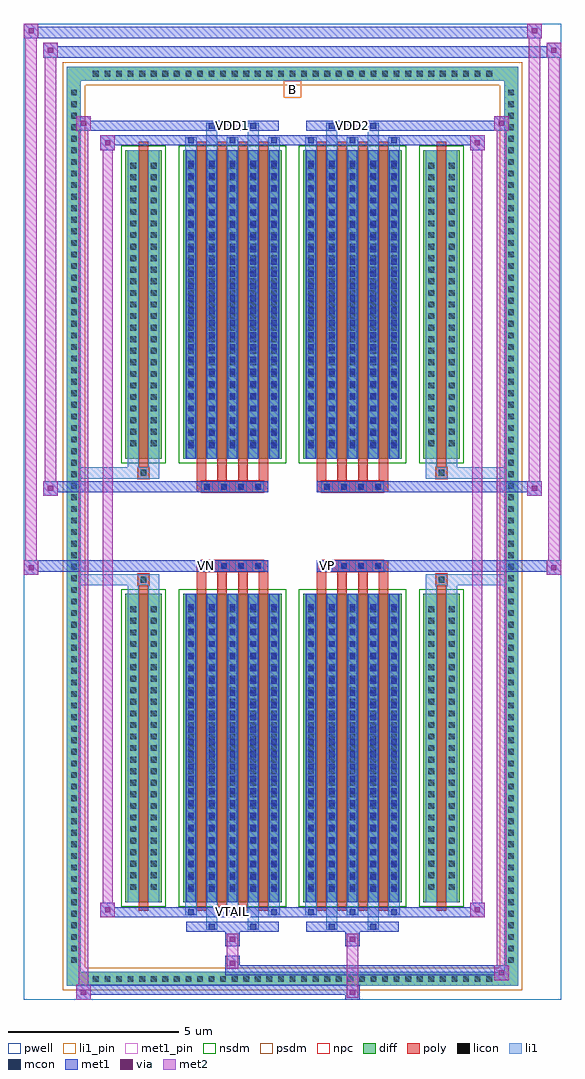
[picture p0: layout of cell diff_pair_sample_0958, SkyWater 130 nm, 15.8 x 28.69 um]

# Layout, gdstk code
import gdstk
lib = gdstk.Library(unit=1e-6, precision=5e-09)
def R(c, l, rs):  # rectangles x0, y0, x1, y1
    for r in rs: c.add(gdstk.rectangle(r[:2], r[2:], *l))
def A(c, l, x, y, w, h, nx, ny, dx, dy):  # array of equal rectangles
    R(c, l, [(x+i*dx, y+j*dy, x+i*dx+w, y+j*dy+h) for i in range(nx) for j in range(ny)])
def P(c, l, *ps):  # polygons
    for p in ps: c.add(gdstk.Polygon(p, *l))
pwell = (64, 44)
diff = (65, 20)
poly = (66, 20)
licon = (66, 44)
li1_pin = (67, 16)
li1 = (67, 20)
mcon = (67, 44)
met1_pin = (68, 16)
met1 = (68, 20)
via = (68, 44)
met2 = (69, 20)
nsdm = (93, 44)
psdm = (94, 20)
npc = (95, 20)

diff_pair_sample_0958 = lib.new_cell('diff_pair_sample_0958')
R(diff_pair_sample_0958, pwell, [(-7.9,-13.91,7.9,14.78), (-5.22,-12.1,-0.01,-0.8), (0.01,-12.1,5.22,-0.8), (-5.22,0.8,-0.01,12.1), (0.01,0.8,5.22,12.1)])
A(diff_pair_sample_0958, diff, -5.985, -13.51, 0.41, 0.41, 35, 2, 0.34, 26.61)
A(diff_pair_sample_0958, diff, -6.63, -12.955, 0.41, 0.41, 1, 76, 0, 0.34)
A(diff_pair_sample_0958, diff, 6.22, -12.955, 0.41, 0.41, 1, 76, 0, 0.34)
R(diff_pair_sample_0958, diff, [(-5.985,-13.51,5.985,-13.1), (-6.63,-12.955,-6.22,12.955), (6.22,-12.955,6.63,12.955), (-4.91,-11.055,-3.85,-1.985), (-3.21,-11.055,-0.32,-1.985), (0.32,-11.055,3.21,-1.985), (3.85,-11.055,4.91,-1.985), (-4.91,1.985,-3.85,11.055), (-3.21,1.985,-0.32,11.055), (0.32,1.985,3.21,11.055), (3.85,1.985,4.91,11.055), (-5.985,13.1,5.985,13.51)])
P(diff_pair_sample_0958, diff, [(6.63,13.51),(-6.63,13.51),(-6.63,-13.1),(-6.22,-13.1),(-6.22,13.1),(6.22,13.1),(6.22,-13.1),(-6.22,-13.1),(-6.63,-13.1),(-6.63,-13.51),(6.63,-13.51)])
A(diff_pair_sample_0958, poly, -2.82, -11.305, 0.28, 9.57, 4, 2, 0.61, 13.04)
A(diff_pair_sample_0958, poly, 0.71, -11.305, 0.28, 9.57, 4, 2, 0.61, 13.04)
A(diff_pair_sample_0958, poly, -2.82, -1.735, 0.28, 0.405, 4, 2, 0.61, 3.065)
A(diff_pair_sample_0958, poly, 0.71, -1.735, 0.28, 0.405, 4, 2, 0.61, 3.065)
A(diff_pair_sample_0958, poly, -2.68, -1.33, 0.33, 0.33, 4, 2, 0.5, 2.33)
A(diff_pair_sample_0958, poly, 0.85, -1.33, 0.33, 0.33, 4, 2, 0.5, 2.33)
R(diff_pair_sample_0958, poly, [(-4.52,-11.305,-4.24,-1.735), (4.24,-11.305,4.52,-1.735), (-4.545,-1.735,-4.215,-1.405), (-4.545,-1.735,-4.215,-1.405), (4.215,-1.735,4.545,-1.405), (4.215,-1.735,4.545,-1.405), (-2.82,-1.33,-0.71,-1), (0.71,-1.33,2.82,-1), (-2.82,1,-0.71,1.33), (0.71,1,2.82,1.33), (-4.545,1.405,-4.215,1.735), (-4.545,1.405,-4.215,1.735), (4.215,1.405,4.545,1.735), (4.215,1.405,4.545,1.735), (-4.52,1.735,-4.24,11.305), (4.24,1.735,4.52,11.305)])
A(diff_pair_sample_0958, licon, -5.865, -13.39, 0.17, 0.17, 35, 2, 0.34, 26.61)
A(diff_pair_sample_0958, licon, -6.51, -12.835, 0.17, 0.17, 1, 76, 0, 0.34)
A(diff_pair_sample_0958, licon, 6.34, -12.835, 0.17, 0.17, 1, 76, 0, 0.34)
A(diff_pair_sample_0958, licon, -4.77, -10.685, 0.17, 0.17, 1, 25, 0, 0.34)
A(diff_pair_sample_0958, licon, -4.16, -10.685, 0.17, 0.17, 1, 25, 0, 0.34)
A(diff_pair_sample_0958, licon, -3.07, -10.685, 0.17, 0.17, 5, 25, 0.61, 0.34)
A(diff_pair_sample_0958, licon, 0.46, -10.685, 0.17, 0.17, 5, 25, 0.61, 0.34)
A(diff_pair_sample_0958, licon, 3.99, -10.685, 0.17, 0.17, 1, 25, 0, 0.34)
A(diff_pair_sample_0958, licon, 4.6, -10.685, 0.17, 0.17, 1, 25, 0, 0.34)
A(diff_pair_sample_0958, licon, -2.6, -1.25, 0.17, 0.17, 4, 2, 0.5, 2.33)
A(diff_pair_sample_0958, licon, 0.93, -1.25, 0.17, 0.17, 4, 2, 0.5, 2.33)
A(diff_pair_sample_0958, licon, -4.77, 2.355, 0.17, 0.17, 1, 25, 0, 0.34)
A(diff_pair_sample_0958, licon, -4.16, 2.355, 0.17, 0.17, 1, 25, 0, 0.34)
A(diff_pair_sample_0958, licon, -3.07, 2.355, 0.17, 0.17, 5, 25, 0.61, 0.34)
A(diff_pair_sample_0958, licon, 0.46, 2.355, 0.17, 0.17, 5, 25, 0.61, 0.34)
A(diff_pair_sample_0958, licon, 3.99, 2.355, 0.17, 0.17, 1, 25, 0, 0.34)
A(diff_pair_sample_0958, licon, 4.6, 2.355, 0.17, 0.17, 1, 25, 0, 0.34)
R(diff_pair_sample_0958, licon, [(-4.465,-1.655,-4.295,-1.485), (4.295,-1.655,4.465,-1.485), (-4.465,1.485,-4.295,1.655), (4.295,1.485,4.465,1.655)])
R(diff_pair_sample_0958, li1_pin, [(-0.25,12.6,0.25,13.1)])
A(diff_pair_sample_0958, li1, -5.945, -13.47, 0.33, 0.33, 35, 2, 0.34, 26.61)
A(diff_pair_sample_0958, li1, -6.59, -12.915, 0.33, 0.33, 1, 76, 0, 0.34)
A(diff_pair_sample_0958, li1, 6.26, -12.915, 0.33, 0.33, 1, 76, 0, 0.34)
A(diff_pair_sample_0958, li1, -3.15, -11.43, 0.33, 0.375, 3, 2, 1.22, 22.485)
A(diff_pair_sample_0958, li1, -3.07, -11.43, 0.17, 0.17, 3, 2, 1.22, 22.69)
A(diff_pair_sample_0958, li1, 0.38, -11.43, 0.33, 0.375, 3, 2, 1.22, 22.485)
A(diff_pair_sample_0958, li1, 0.46, -11.43, 0.17, 0.17, 3, 2, 1.22, 22.69)
A(diff_pair_sample_0958, li1, -3.15, -11.055, 0.33, 9.07, 5, 2, 0.61, 13.04)
A(diff_pair_sample_0958, li1, 0.38, -11.055, 0.33, 9.07, 5, 2, 0.61, 13.04)
A(diff_pair_sample_0958, li1, -4.85, -10.765, 0.33, 0.33, 1, 25, 0, 0.34)
A(diff_pair_sample_0958, li1, -4.24, -10.765, 0.33, 0.33, 1, 25, 0, 0.34)
A(diff_pair_sample_0958, li1, -3.15, -10.765, 0.33, 0.33, 5, 25, 0.61, 0.34)
A(diff_pair_sample_0958, li1, 0.38, -10.765, 0.33, 0.33, 5, 25, 0.61, 0.34)
A(diff_pair_sample_0958, li1, 3.91, -10.765, 0.33, 0.33, 1, 25, 0, 0.34)
A(diff_pair_sample_0958, li1, 4.52, -10.765, 0.33, 0.33, 1, 25, 0, 0.34)
A(diff_pair_sample_0958, li1, -3.07, -10.745, 0.17, 0.17, 5, 24, 0.61, 0.36)
A(diff_pair_sample_0958, li1, -3.07, -10.745, 0.17, 8.45, 5, 2, 0.61, 13.04)
A(diff_pair_sample_0958, li1, 0.46, -10.745, 0.17, 0.17, 5, 24, 0.61, 0.36)
A(diff_pair_sample_0958, li1, 0.46, -10.745, 0.17, 8.45, 5, 2, 0.61, 13.04)
A(diff_pair_sample_0958, li1, -2.68, -1.33, 0.33, 0.33, 4, 2, 0.5, 2.33)
A(diff_pair_sample_0958, li1, 0.85, -1.33, 0.33, 0.33, 4, 2, 0.5, 2.33)
A(diff_pair_sample_0958, li1, -4.85, 2.275, 0.33, 0.33, 1, 25, 0, 0.34)
A(diff_pair_sample_0958, li1, -4.24, 2.275, 0.33, 0.33, 1, 25, 0, 0.34)
A(diff_pair_sample_0958, li1, -3.15, 2.275, 0.33, 0.33, 5, 25, 0.61, 0.34)
A(diff_pair_sample_0958, li1, 0.38, 2.275, 0.33, 0.33, 5, 25, 0.61, 0.34)
A(diff_pair_sample_0958, li1, 3.91, 2.275, 0.33, 0.33, 1, 25, 0, 0.34)
A(diff_pair_sample_0958, li1, 4.52, 2.275, 0.33, 0.33, 1, 25, 0, 0.34)
A(diff_pair_sample_0958, li1, -3.07, 2.295, 0.17, 0.17, 5, 24, 0.61, 0.36)
A(diff_pair_sample_0958, li1, 0.46, 2.295, 0.17, 0.17, 5, 24, 0.61, 0.36)
R(diff_pair_sample_0958, li1, [(-6.63,-13.51,-6.22,-13.1), (-6.63,-13.51,-6.22,-13.1), (-6.22,-13.51,6.22,-13.1), (6.22,-13.51,6.63,-13.1), (6.22,-13.51,6.63,-13.1), (-6.63,-13.1,-6.22,13.1), (6.22,-13.1,6.63,13.1), (-2.54,-11.86,-2.21,-11.055), (-2.46,-11.86,-2.29,-11.69), (-1.32,-11.86,-0.99,-11.055), (-1.24,-11.86,-1.07,-11.69), (0.99,-11.86,1.32,-11.055), (1.07,-11.86,1.24,-11.69), (2.21,-11.86,2.54,-11.055), (2.29,-11.86,2.46,-11.69), (-4.85,-11.055,-4.52,-1.985), (-4.24,-11.055,-3.91,-1.985), (3.91,-11.055,4.24,-1.985), (4.52,-11.055,4.85,-1.985), (-4.85,-1.985,-4.52,-1.405), (-4.24,-1.985,-3.91,-1.405), (3.91,-1.985,4.24,-1.405), (4.52,-1.985,4.85,-1.405), (-6.63,-1.735,-4.545,-1.405), (-4.85,-1.735,-4.545,-1.405), (-4.545,-1.735,-4.215,-1.405), (-4.215,-1.735,-3.91,-1.405), (3.91,-1.735,4.215,-1.405), (4.215,-1.735,4.545,-1.405), (4.215,-1.735,6.63,-1.405), (4.545,-1.735,4.85,-1.405), (-6.63,1.405,-4.545,1.735), (-4.85,1.405,-4.545,1.735), (-4.85,1.405,-4.52,1.985), (-4.545,1.405,-4.215,1.735), (-4.24,1.405,-3.91,1.985), (-4.215,1.405,-3.91,1.735), (3.91,1.405,4.215,1.735), (3.91,1.405,4.24,1.985), (4.215,1.405,4.545,1.735), (4.215,1.405,6.63,1.735), (4.52,1.405,4.85,1.985), (4.545,1.405,4.85,1.735), (-4.85,1.985,-4.52,11.055), (-4.24,1.985,-3.91,11.055), (3.91,1.985,4.24,11.055), (4.52,1.985,4.85,11.055), (-2.54,11.055,-2.21,11.86), (-1.32,11.055,-0.99,11.86), (0.99,11.055,1.32,11.86), (2.21,11.055,2.54,11.86), (-2.46,11.69,-2.29,11.86), (-1.24,11.69,-1.07,11.86), (1.07,11.69,1.24,11.86), (2.29,11.69,2.46,11.86), (-6.63,13.1,-6.22,13.51), (-6.63,13.1,-6.22,13.51), (-6.22,13.1,6.22,13.51), (6.22,13.1,6.63,13.51), (6.22,13.1,6.63,13.51)])
A(diff_pair_sample_0958, mcon, -3.07, -11.43, 0.17, 0.17, 3, 2, 1.22, 22.69)
A(diff_pair_sample_0958, mcon, 0.46, -11.43, 0.17, 0.17, 3, 2, 1.22, 22.69)
A(diff_pair_sample_0958, mcon, -3.07, -10.745, 0.17, 0.17, 5, 24, 0.61, 0.36)
A(diff_pair_sample_0958, mcon, 0.46, -10.745, 0.17, 0.17, 5, 24, 0.61, 0.36)
A(diff_pair_sample_0958, mcon, -2.6, -1.25, 0.17, 0.17, 4, 2, 0.5, 2.33)
A(diff_pair_sample_0958, mcon, 0.93, -1.25, 0.17, 0.17, 4, 2, 0.5, 2.33)
A(diff_pair_sample_0958, mcon, -3.07, 2.295, 0.17, 0.17, 5, 24, 0.61, 0.36)
A(diff_pair_sample_0958, mcon, 0.46, 2.295, 0.17, 0.17, 5, 24, 0.61, 0.36)
R(diff_pair_sample_0958, mcon, [(-2.46,-11.86,-2.29,-11.69), (-1.24,-11.86,-1.07,-11.69), (1.07,-11.86,1.24,-11.69), (2.29,-11.86,2.46,-11.69), (-2.46,11.69,-2.29,11.86), (-1.24,11.69,-1.07,11.86), (1.07,11.69,1.24,11.86), (2.29,11.69,2.46,11.86)])
R(diff_pair_sample_0958, met1_pin, [(-1.9,-11.47,-1.63,-11.2), (-2.65,-1.29,-2.38,-1.02), (0.88,-1.29,1.15,-1.02), (-1.9,11.65,-1.63,11.92), (1.63,11.65,1.9,11.92)])
A(diff_pair_sample_0958, met1, -3.13, -11.49, 0.29, 0.29, 3, 2, 1.22, 22.69)
A(diff_pair_sample_0958, met1, 0.4, -11.49, 0.29, 0.29, 3, 2, 1.22, 22.69)
A(diff_pair_sample_0958, met1, -3.13, -11.055, 0.29, 9.07, 5, 2, 0.61, 13.04)
A(diff_pair_sample_0958, met1, 0.4, -11.055, 0.29, 9.07, 5, 2, 0.61, 13.04)
A(diff_pair_sample_0958, met1, -3.13, -10.805, 0.29, 0.29, 5, 24, 0.61, 0.36)
A(diff_pair_sample_0958, met1, 0.4, -10.805, 0.29, 0.29, 5, 24, 0.61, 0.36)
A(diff_pair_sample_0958, met1, -2.66, -1.31, 0.29, 0.29, 4, 2, 0.5, 2.33)
A(diff_pair_sample_0958, met1, 0.87, -1.31, 0.29, 0.29, 4, 2, 0.5, 2.33)
A(diff_pair_sample_0958, met1, -3.13, 2.235, 0.29, 0.29, 5, 24, 0.61, 0.36)
A(diff_pair_sample_0958, met1, 0.4, 2.235, 0.29, 0.29, 5, 24, 0.61, 0.36)
R(diff_pair_sample_0958, met1, [(-6.36,-13.91,-5.93,-13.48), (1.55,-13.91,1.98,-13.48), (-6.36,-13.77,1.98,-13.48), (5.93,-13.34,6.36,-12.91), (-1.98,-13.2,6.36,-12.91), (-1.98,-13.06,-1.55,-12.63), (-1.98,-12.35,-1.55,-11.92), (1.55,-12.35,1.98,-11.92), (-3.13,-11.92,-0.4,-11.63), (-2.52,-11.92,-2.23,-11.63), (-1.3,-11.92,-1.01,-11.63), (0.4,-11.92,3.13,-11.63), (1.01,-11.92,1.3,-11.63), (2.23,-11.92,2.52,-11.63), (-5.65,-11.49,-5.22,-11.06), (-5.65,-11.49,-3.13,-11.2), (-3.13,-11.49,-0.4,-11.2), (-0.4,-11.49,0.4,-11.2), (0.4,-11.49,3.13,-11.2), (3.13,-11.49,5.65,-11.2), (5.22,-11.49,5.65,-11.06), (-7.9,-1.43,-7.47,-1), (7.47,-1.43,7.9,-1), (-7.9,-1.33,-0.71,-1), (-2.82,-1.33,-0.71,-1), (0.71,-1.33,2.82,-1), (0.71,-1.33,7.9,-1), (-7.33,0.9,-6.9,1.33), (6.9,0.9,7.33,1.33), (-7.33,1,-2.82,1.33), (-2.82,1,-0.71,1.33), (0.71,1,2.82,1.33), (2.82,1,7.33,1.33), (-5.65,11.06,-5.22,11.49), (5.22,11.06,5.65,11.49), (-5.65,11.2,-3.13,11.49), (-3.13,11.2,-0.4,11.49), (-0.4,11.2,0.4,11.49), (0.4,11.2,3.13,11.49), (3.13,11.2,5.65,11.49), (-6.36,11.63,-5.93,12.06), (-6.36,11.63,-3.13,11.92), (-3.13,11.63,-0.4,11.92), (-2.52,11.63,-2.23,11.92), (-1.3,11.63,-1.01,11.92), (0.4,11.63,3.13,11.92), (1.01,11.63,1.3,11.92), (2.23,11.63,2.52,11.92), (3.13,11.63,6.36,11.92), (5.93,11.63,6.36,12.06), (-7.33,13.78,-5.22,14.11), (-7.33,13.78,-6.9,14.21), (-5.22,13.78,5.22,14.11), (5.22,13.78,7.9,14.11), (7.47,13.78,7.9,14.21), (-7.9,14.35,-7.47,14.78), (-7.9,14.35,-5.22,14.68), (-5.22,14.35,5.22,14.68), (5.22,14.35,7.33,14.68), (6.9,14.35,7.33,14.78)])
R(diff_pair_sample_0958, via, [(-6.22,-13.77,-6.07,-13.62), (1.69,-13.77,1.84,-13.62), (6.07,-13.2,6.22,-13.05), (-1.84,-12.92,-1.69,-12.77), (-1.84,-12.21,-1.69,-12.06), (1.69,-12.21,1.84,-12.06), (-5.51,-11.35,-5.36,-11.2), (5.36,-11.35,5.51,-11.2), (-7.76,-1.29,-7.61,-1.14), (7.61,-1.29,7.76,-1.14), (-7.19,1.04,-7.04,1.19), (7.04,1.04,7.19,1.19), (-5.51,11.2,-5.36,11.35), (5.36,11.2,5.51,11.35), (-6.22,11.77,-6.07,11.92), (6.07,11.77,6.22,11.92), (-7.19,13.92,-7.04,14.07), (7.61,13.92,7.76,14.07), (-7.76,14.49,-7.61,14.64), (7.04,14.49,7.19,14.64)])
R(diff_pair_sample_0958, met2, [(-6.36,-13.91,-5.93,-13.48), (-6.29,-13.91,-6,12.06), (-6,-13.91,-5.93,-13.48), (-6.31,-13.86,-5.98,-13.53), (1.6,-13.86,1.93,-13.53), (1.6,-13.53,1.93,-12.3), (5.93,-13.34,6.36,-12.91), (6,-13.34,6.29,12.06), (6.29,-13.34,6.36,-12.91), (5.98,-13.29,6.31,-12.96), (-1.93,-13.01,-1.6,-12.68), (-1.93,-12.68,-1.6,-12.3), (-1.93,-12.3,-1.6,-11.97), (1.6,-12.3,1.93,-11.97), (-5.65,-11.49,-5.22,-11.06), (-5.58,-11.49,-5.29,11.49), (-5.29,-11.49,-5.22,-11.06), (5.22,-11.49,5.65,-11.06), (5.29,-11.49,5.58,11.49), (5.58,-11.49,5.65,-11.06), (-5.6,-11.44,-5.27,-11.11), (5.27,-11.44,5.6,-11.11), (-7.9,-1.43,-7.47,-1), (-7.85,-1.43,-7.52,14.78), (-7.52,-1.43,-7.47,-1), (7.47,-1.43,7.9,-1), (7.52,-1.43,7.85,14.21), (7.85,-1.43,7.9,-1), (-7.85,-1.38,-7.52,-1.05), (7.52,-1.38,7.85,-1.05), (-7.33,0.9,-6.9,1.33), (-7.28,0.9,-6.95,14.21), (-6.95,0.9,-6.9,1.33), (6.9,0.9,7.33,1.33), (6.95,0.9,7.28,14.78), (7.28,0.9,7.33,1.33), (-7.28,0.95,-6.95,1.28), (6.95,0.95,7.28,1.28), (-5.65,11.06,-5.22,11.49), (-5.29,11.06,-5.22,11.49), (5.22,11.06,5.65,11.49), (5.58,11.06,5.65,11.49), (-5.6,11.11,-5.27,11.44), (5.27,11.11,5.6,11.44), (-6.36,11.63,-5.93,12.06), (-6,11.63,-5.93,12.06), (5.93,11.63,6.36,12.06), (6.29,11.63,6.36,12.06), (-6.31,11.68,-5.98,12.01), (5.98,11.68,6.31,12.01), (-7.33,13.78,-6.9,14.21), (-6.95,13.78,-6.9,14.21), (7.47,13.78,7.9,14.21), (7.85,13.78,7.9,14.21), (-7.28,13.83,-6.95,14.16), (7.52,13.83,7.85,14.16), (-7.9,14.35,-7.47,14.78), (-7.52,14.35,-7.47,14.78), (6.9,14.35,7.33,14.78), (7.28,14.35,7.33,14.78), (-7.85,14.4,-7.52,14.73), (6.95,14.4,7.28,14.73)])
R(diff_pair_sample_0958, nsdm, [(-5.04,-11.185,-3.72,-1.855), (-3.34,-11.185,-0.19,-1.855), (0.19,-11.185,3.34,-1.855), (3.72,-11.185,5.04,-1.855), (-5.04,1.855,-3.72,11.185), (-3.34,1.855,-0.19,11.185), (0.19,1.855,3.34,11.185), (3.72,1.855,5.04,11.185)])
P(diff_pair_sample_0958, psdm, [(6.76,13.64),(-6.76,13.64),(-6.76,-12.97),(-6.09,-12.97),(-6.09,12.97),(6.09,12.97),(6.09,-12.97),(-6.09,-12.97),(-6.76,-12.97),(-6.76,-13.64),(6.76,-13.64)])
A(diff_pair_sample_0958, npc, -2.7, -1.35, 0.37, 0.37, 4, 2, 0.5, 2.33)
A(diff_pair_sample_0958, npc, 0.83, -1.35, 0.37, 0.37, 4, 2, 0.5, 2.33)
R(diff_pair_sample_0958, npc, [(-4.565,-1.755,-4.195,-1.385), (4.195,-1.755,4.565,-1.385), (-2.7,-1.35,-1.83,-0.98), (-2.7,-1.35,-1.83,-0.98), (-2.2,-1.35,-1.33,-0.98), (-2.2,-1.35,-1.33,-0.98), (-1.7,-1.35,-0.83,-0.98), (-1.7,-1.35,-0.83,-0.98), (0.83,-1.35,1.7,-0.98), (0.83,-1.35,1.7,-0.98), (1.33,-1.35,2.2,-0.98), (1.33,-1.35,2.2,-0.98), (1.83,-1.35,2.7,-0.98), (1.83,-1.35,2.7,-0.98), (-2.7,0.98,-1.83,1.35), (-2.7,0.98,-1.83,1.35), (-2.2,0.98,-1.33,1.35), (-2.2,0.98,-1.33,1.35), (-1.7,0.98,-0.83,1.35), (-1.7,0.98,-0.83,1.35), (0.83,0.98,1.7,1.35), (0.83,0.98,1.7,1.35), (1.33,0.98,2.2,1.35), (1.33,0.98,2.2,1.35), (1.83,0.98,2.7,1.35), (1.83,0.98,2.7,1.35), (-4.565,1.385,-4.195,1.755), (4.195,1.385,4.565,1.755)])
diff_pair_sample_0958.add(gdstk.Label('VTAIL', (-1.765,-11.335), layer=68, texttype=5))
diff_pair_sample_0958.add(gdstk.Label('VN', (-2.515,-1.155), layer=68, texttype=5))
diff_pair_sample_0958.add(gdstk.Label('VP', (1.015,-1.155), layer=68, texttype=5))
diff_pair_sample_0958.add(gdstk.Label('B', (0,12.85), layer=67, texttype=5))
diff_pair_sample_0958.add(gdstk.Label('VDD2', (1.765,11.785), layer=68, texttype=5))
diff_pair_sample_0958.add(gdstk.Label('VDD1', (-1.765,11.785), layer=68, texttype=5))

lib.write_gds('diff_pair_sample_0958.gds')
